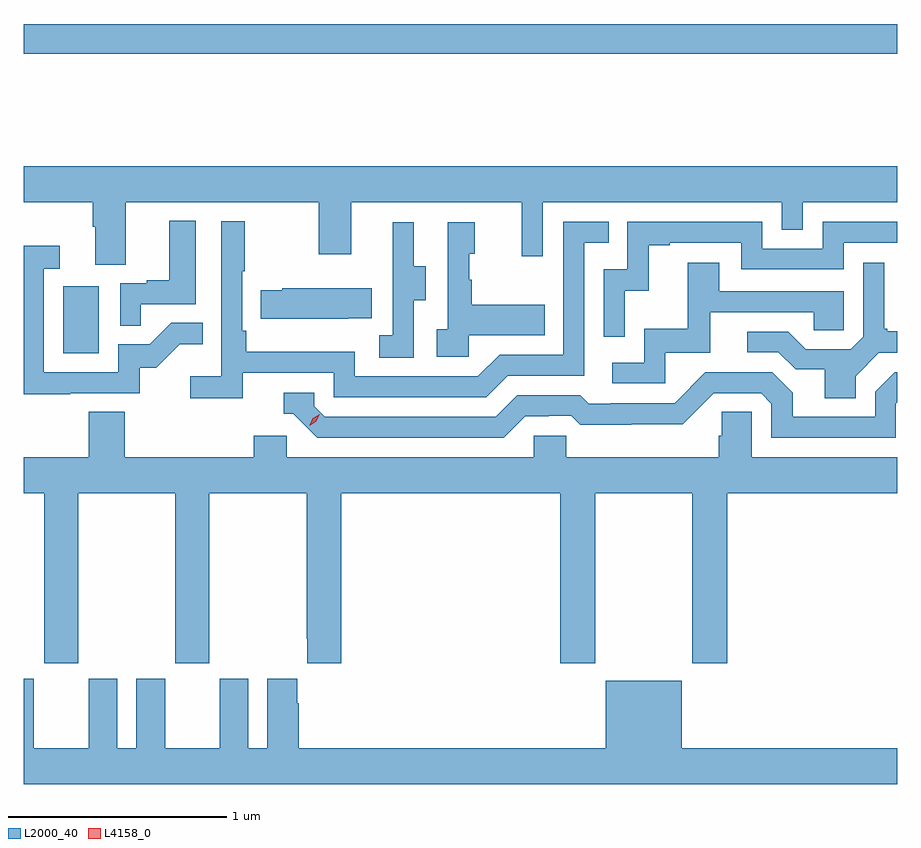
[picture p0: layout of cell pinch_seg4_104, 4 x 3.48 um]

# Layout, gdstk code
import gdstk
lib = gdstk.Library(unit=1e-6, precision=1e-09)
def R(c, l, rs):  # rectangles x0, y0, x1, y1
    for r in rs: c.add(gdstk.rectangle(r[:2], r[2:], *l))
def P(c, l, *ps):  # polygons
    for p in ps: c.add(gdstk.Polygon(p, *l))
L2000_40 = (2000, 40)
L4158_0 = (4158, 0)

pinch_seg4_104 = lib.new_cell('pinch_seg4_104')
R(pinch_seg4_104, L2000_40, [(1078.406,794.796,1078.57,795.103), (1078.226,796.168,1082.226,796.304)])
P(pinch_seg4_104, L2000_40, [(1078.693,795.488),(1079.578,795.488),(1079.578,795.249),(1079.725,795.249),(1079.725,795.488),(1080.506,795.488),(1080.506,795.24),(1080.603,795.24),(1080.603,795.488),(1081.698,795.488),(1081.698,795.361),(1081.794,795.361),(1081.794,795.488),(1082.226,795.488),(1082.226,795.652),(1078.226,795.652),(1078.226,795.488),(1078.541,795.488),(1078.541,795.376),(1078.553,795.376),(1078.553,795.202),(1078.693,795.202)],
  [(1078.763,795.021),(1079.014,795.021),(1079.014,795.403),(1078.892,795.403),(1078.892,795.13),(1078.789,795.13),(1078.789,795.117),(1078.668,795.117),(1078.668,794.923),(1078.763,794.923)],
  [(1079.228,794.706),(1079.646,794.706),(1079.646,794.595),(1080.343,794.595),(1080.442,794.694),(1080.792,794.694),(1080.792,795.303),(1080.905,795.303),(1080.905,795.399),(1080.696,795.399),(1080.696,794.79),(1080.405,794.79),(1080.306,794.691),(1079.742,794.691),(1079.742,794.803),(1079.246,794.803),(1079.246,794.899),(1079.226,794.899),(1079.226,795.172),(1079.239,795.172),(1079.239,795.4),(1079.13,795.4),(1079.13,794.692),(1078.989,794.692),(1078.989,794.59),(1079.228,794.59)],
  [(1080.978,795.083),(1081.088,795.083),(1081.088,795.291),(1081.183,795.291),(1081.183,795.303),(1081.512,795.303),(1081.512,795.18),(1081.98,795.18),(1081.98,795.303),(1082.226,795.303),(1082.226,795.399),(1081.884,795.399),(1081.884,795.276),(1081.608,795.276),(1081.608,795.399),(1080.99,795.399),(1080.99,795.18),(1080.882,795.18),(1080.882,794.871),(1080.978,794.871)],
  [(1080.264,794.879),(1080.611,794.879),(1080.611,795.019),(1080.277,795.019),(1080.277,795.134),(1080.267,795.134),(1080.267,795.252),(1080.292,795.252),(1080.292,795.397),(1080.168,795.397),(1080.168,794.906),(1080.117,794.906),(1080.117,794.781),(1080.264,794.781)],
  [(1080.012,795.04),(1080.067,795.04),(1080.067,795.195),(1080.013,795.195),(1080.013,795.397),(1079.915,795.397),(1079.915,795.183),(1079.916,795.183),(1079.916,794.879),(1079.853,794.879),(1079.853,794.776),(1080.012,794.776)],
  [(1078.439,794.613),(1078.758,794.613),(1078.758,794.73),(1078.834,794.73),(1078.941,794.837),(1079.045,794.837),(1079.045,794.936),(1078.902,794.936),(1078.804,794.838),(1078.659,794.838),(1078.659,794.709),(1078.317,794.709),(1078.317,795.183),(1078.39,795.183),(1078.39,795.289),(1078.226,795.289),(1078.226,794.608),(1078.439,794.608)],
  [(1081.164,794.799),(1081.369,794.799),(1081.369,794.985),(1081.843,794.985),(1081.843,794.901),(1081.98,794.901),(1081.98,795.081),(1081.411,795.081),(1081.411,795.211),(1081.267,795.211),(1081.267,794.908),(1081.068,794.908),(1081.068,794.754),(1080.921,794.754),(1080.921,794.658),(1081.164,794.658)],
  [(1082.035,794.692),(1082.142,794.799),(1082.226,794.799),(1082.226,794.896),(1082.179,794.896),(1082.179,794.908),(1082.167,794.908),(1082.167,795.211),(1082.07,795.211),(1082.07,794.871),(1082.013,794.814),(1081.807,794.814),(1081.726,794.895),(1081.539,794.895),(1081.539,794.802),(1081.68,794.802),(1081.76,794.722),(1081.895,794.722),(1081.895,794.59),(1082.035,794.59)],
  [(1079.711,794.957),(1079.819,794.957),(1079.819,795.094),(1079.409,795.094),(1079.409,795.084),(1079.311,795.084),(1079.311,794.954),(1079.711,794.954)],
  [(1080.523,794.508),(1080.63,794.508),(1080.63,794.511),(1080.733,794.511),(1080.775,794.469),(1081.008,794.469),(1081.008,794.471),(1081.244,794.471),(1081.386,794.613),(1081.602,794.613),(1081.65,794.565),(1081.65,794.409),(1082.22,794.409),(1082.22,794.565),(1082.226,794.571),(1082.226,794.709),(1082.214,794.709),(1082.124,794.619),(1082.124,794.505),(1081.747,794.505),(1081.747,794.615),(1081.653,794.709),(1081.347,794.709),(1081.206,794.568),(1080.913,794.568),(1080.913,794.565),(1080.814,794.565),(1080.775,794.604),(1080.486,794.604),(1080.387,794.505),(1079.604,794.505),(1079.556,794.553),(1079.556,794.616),(1079.417,794.616),(1079.417,794.52),(1079.46,794.52),(1079.571,794.409),(1080.424,794.409)],
  [(1078.476,794.156),(1078.921,794.156),(1078.921,793.377),(1079.076,793.377),(1079.076,794.156),(1079.521,794.156),(1079.521,793.489),(1079.525,793.489),(1079.525,793.377),(1079.681,793.377),(1079.681,794.156),(1080.683,794.156),(1080.683,793.377),(1080.843,793.377),(1080.843,794.156),(1081.288,794.156),(1081.288,793.377),(1081.448,793.377),(1081.448,794.156),(1082.226,794.156),(1082.226,794.32),(1081.56,794.32),(1081.56,794.528),(1081.423,794.528),(1081.423,794.418),(1081.409,794.418),(1081.409,794.32),(1080.711,794.32),(1080.711,794.418),(1080.561,794.418),(1080.561,794.32),(1079.43,794.32),(1079.43,794.418),(1079.279,794.418),(1079.279,794.32),(1078.688,794.32),(1078.688,794.528),(1078.523,794.528),(1078.523,794.32),(1078.226,794.32),(1078.226,794.156),(1078.321,794.156),(1078.321,793.377),(1078.476,793.377)],
  [(1082.226,792.988),(1081.24,792.988),(1081.24,793.297),(1080.89,793.297),(1080.89,792.988),(1079.486,792.988),(1079.486,793.193),(1079.479,793.193),(1079.479,793.306),(1079.342,793.306),(1079.342,792.988),(1079.254,792.988),(1079.254,793.306),(1079.123,793.306),(1079.123,792.988),(1078.873,792.988),(1078.873,793.306),(1078.742,793.306),(1078.742,792.988),(1078.654,792.988),(1078.654,793.306),(1078.523,793.306),(1078.523,792.988),(1078.273,792.988),(1078.273,793.306),(1078.226,793.306),(1078.226,792.824),(1082.226,792.824)])
P(pinch_seg4_104, L4158_0, [(1079.535,794.465),(1079.535,794.466),(1079.55,794.498),(1079.581,794.518),(1079.581,794.518),(1079.581,794.517),(1079.566,794.485),(1079.535,794.465)])

lib.write_gds('pinch_seg4_104.gds')
